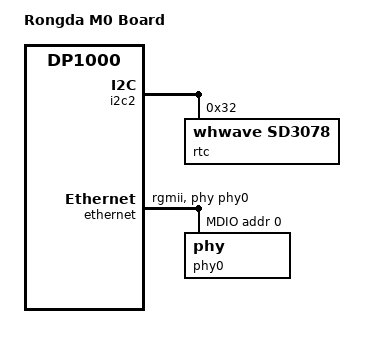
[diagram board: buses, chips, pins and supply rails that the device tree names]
// SPDX-License-Identifier: GPL-2.0
/*
 * Copyright(C) 2026 UltraRISC Technology (Shanghai) Co., Ltd.
 */

#include "dp1000-rongda-m0-pinctrl.dtsi"
#include <dt-bindings/gpio/gpio.h>

/ {
	model = "Rongda M0 Board";
	compatible = "rongda,m0", "ultrarisc,dp1000";

	aliases {
		serial0 = &uart0;
		serial1 = &uart1;
		serial2 = &uart2;
		serial3 = &uart3;
	};

	chosen {
		stdout-path = "serial0:115200n8";
	};

	gpio-poweroff {
		compatible = "gpio-poweroff";
		gpios = <&gpio_b 0 GPIO_ACTIVE_HIGH>;
		active-delay-ms = <100>;

		status = "disabled";
	};

	gpio-restart {
		compatible = "gpio-restart";
		gpios = <&gpio_b 1 GPIO_ACTIVE_HIGH>;
		active-delay = <100>;

		status = "disabled";
	};
};

&i2c0 {
	pinctrl-names = "default";
	pinctrl-0 = <&i2c0_pins>;
};

&i2c1 {
	pinctrl-names = "default";
	pinctrl-0 = <&i2c1_pins>;
};

&i2c2 {
	pinctrl-names = "default";
	pinctrl-0 = <&i2c2_pins>;

	rtc@32 {
		compatible = "whwave,sd3078";
		reg = <0x32>;
	};
};

&i2c3 {
	pinctrl-names = "default";
	pinctrl-0 = <&i2c3_pins>;
};

&spi0 {
	pinctrl-names = "default";
	pinctrl-0 = <&spi0_pins>;
};

&spi1 {
	num-cs = <1>;

	pinctrl-names = "default";
	pinctrl-0 = <&spi1_pins>;
};

&uart0 {
	pinctrl-names = "default";
	pinctrl-0 = <&uart0_pins>;
};

&uart1 {
	pinctrl-names = "default";
	pinctrl-0 = <&uart1_pins>;
};

&uart2 {
	pinctrl-names = "default";
	pinctrl-0 = <&uart2_pins>;
};

&ethernet {
	phy-handle = <&phy0>;
	/*
	 * YT8531 RGMII timing on this board requires no PHY internal delays.
	 * Using "rgmii-id" together with rx/tx-internal-delay-ps results in RX CRC
	 * errors and no usable traffic, so keep plain "rgmii" here.
	 */
	phy-mode = "rgmii";

	mdio {
		compatible = "snps,dwmac-mdio";
		#address-cells = <1>;
		#size-cells = <0>;

		phy0: phy@0 {
			reg = <0x00>;
		};
	};
};
